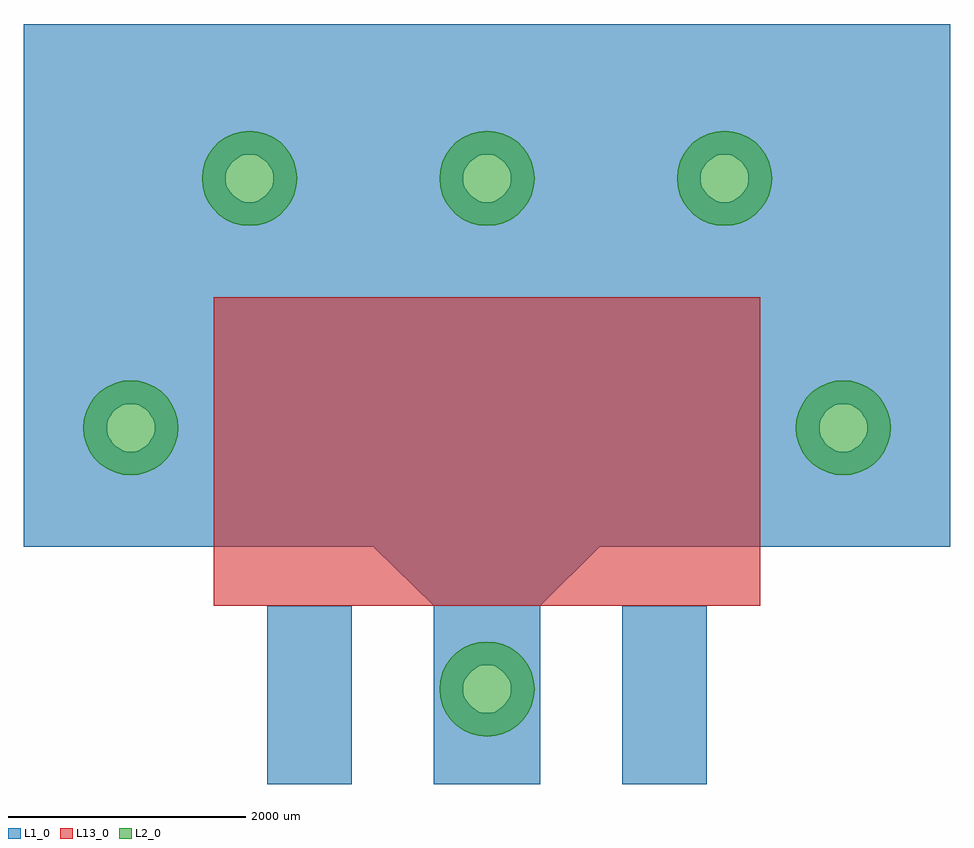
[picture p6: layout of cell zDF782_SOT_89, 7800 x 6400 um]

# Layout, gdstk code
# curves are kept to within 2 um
import gdstk
lib = gdstk.Library(unit=1e-6, precision=1e-09)
def R(c, l, rs):  # rectangles x0, y0, x1, y1
    for r in rs: c.add(gdstk.rectangle(r[:2], r[2:], *l))
def P(c, l, *ps):  # polygons
    for p in ps: c.add(gdstk.Polygon(p, *l))
L1_0 = (1, 0)
L2_0 = (2, 0)
L13_0 = (13, 0)

zdf782_sot_89 = lib.new_cell('zDF782_SOT_89')
R(zdf782_sot_89, L1_0, [(-1850,-1500,-1140,0), (1140,-1500,1850,0)])
P(zdf782_sot_89, L1_0, [(-950,500),(-950,490),(-450,0),(-450,-1500),(0,-1500),(0,-900),(-30,-900),(-70,-890),(-130,-850),(-150,-830),(-190,-770),(-200,-730),(-200,-670),(-190,-630),(-150,-570),(-130,-550),(-70,-510),(-30,-500),(0,-500),(0,3400),(-30,3400),(-70,3410),(-130,3450),(-150,3470),(-190,3530),(-200,3570),(-200,3630),(-190,3670),(-150,3730),(-130,3750),(-70,3790),(-30,3800),(30,3800),(70,3790),(130,3750),(150,3730),(190,3670),(200,3630),(200,3570),(190,3530),(150,3470),(130,3450),(70,3410),(30,3400),(0,3400),(0,-500),(30,-500),(70,-510),(130,-550),(150,-570),(190,-630),(200,-670),(200,-730),(190,-770),(150,-830),(130,-850),(70,-890),(30,-900),(0,-900),(0,-1500),(450,-1500),(450,0),(950,500),(2000,500),(2000,3400),(1970,3400),(1930,3410),(1870,3450),(1850,3470),(1810,3530),(1800,3570),(1800,3630),(1810,3670),(1850,3730),(1870,3750),(1930,3790),(1970,3800),(2030,3800),(2070,3790),(2130,3750),(2150,3730),(2190,3670),(2200,3630),(2200,3570),(2190,3530),(2150,3470),(2130,3450),(2070,3410),(2030,3400),(2000,3400),(2000,500),(3000,500),(3000,1300),(2970,1300),(2930,1310),(2870,1350),(2850,1370),(2810,1430),(2800,1470),(2800,1530),(2810,1570),(2850,1630),(2870,1650),(2930,1690),(2970,1700),(3030,1700),(3070,1690),(3130,1650),(3150,1630),(3190,1570),(3200,1530),(3200,1470),(3190,1430),(3150,1370),(3130,1350),(3070,1310),(3030,1300),(3000,1300),(3000,500),(3900,500),(3900,4900),(-3900,4900),(-3900,500),(-3000,500),(-3000,1300),(-3030,1300),(-3070,1310),(-3130,1350),(-3150,1370),(-3190,1430),(-3200,1470),(-3200,1530),(-3190,1570),(-3150,1630),(-3130,1650),(-3070,1690),(-3030,1700),(-2970,1700),(-2930,1690),(-2870,1650),(-2850,1630),(-2810,1570),(-2800,1530),(-2800,1470),(-2810,1430),(-2850,1370),(-2870,1350),(-2930,1310),(-2970,1300),(-3000,1300),(-3000,500),(-2000,500),(-2000,3400),(-2030,3400),(-2070,3410),(-2130,3450),(-2150,3470),(-2190,3530),(-2200,3570),(-2200,3630),(-2190,3670),(-2150,3730),(-2130,3750),(-2070,3790),(-2030,3800),(-1970,3800),(-1930,3790),(-1870,3750),(-1850,3730),(-1810,3670),(-1800,3630),(-1800,3570),(-1810,3530),(-1850,3470),(-1870,3450),(-1930,3410),(-1970,3400),(-2000,3400),(-2000,500)])
P(zdf782_sot_89, L2_0, [(400,3600),(393.923,3530.541),(375.877,3463.192),(346.41,3400),(306.418,3342.885),(257.115,3293.582),(200,3253.59),(136.808,3224.123),(69.459,3206.077),(0,3200),(-69.459,3206.077),(-136.808,3224.123),(-200,3253.59),(-257.115,3293.582),(-306.418,3342.885),(-346.41,3400),(-375.877,3463.192),(-393.923,3530.541),(-400,3600),(-393.923,3669.459),(-375.877,3736.808),(-346.41,3800),(-306.418,3857.115),(-257.115,3906.418),(-200,3946.41),(-136.808,3975.877),(-69.459,3993.923),(0,4000),(69.459,3993.923),(136.808,3975.877),(200,3946.41),(257.115,3906.418),(306.418,3857.115),(346.41,3800),(375.877,3736.808),(393.923,3669.459)],
  [(2400,3600),(2393.923,3530.541),(2375.877,3463.192),(2346.41,3400),(2306.418,3342.885),(2257.115,3293.582),(2200,3253.59),(2136.808,3224.123),(2069.459,3206.077),(2000,3200),(1930.541,3206.077),(1863.192,3224.123),(1800,3253.59),(1742.885,3293.582),(1693.582,3342.885),(1653.59,3400),(1624.123,3463.192),(1606.077,3530.541),(1600,3600),(1606.077,3669.459),(1624.123,3736.808),(1653.59,3800),(1693.582,3857.115),(1742.885,3906.418),(1800,3946.41),(1863.192,3975.877),(1930.541,3993.923),(2000,4000),(2069.459,3993.923),(2136.808,3975.877),(2200,3946.41),(2257.115,3906.418),(2306.418,3857.115),(2346.41,3800),(2375.877,3736.808),(2393.923,3669.459)],
  [(400,-700),(393.923,-769.459),(375.877,-836.808),(346.41,-900),(306.418,-957.115),(257.115,-1006.418),(200,-1046.41),(136.808,-1075.877),(69.459,-1093.923),(0,-1100),(-69.459,-1093.923),(-136.808,-1075.877),(-200,-1046.41),(-257.115,-1006.418),(-306.418,-957.115),(-346.41,-900),(-375.877,-836.808),(-393.923,-769.459),(-400,-700),(-393.923,-630.541),(-375.877,-563.192),(-346.41,-500),(-306.418,-442.885),(-257.115,-393.582),(-200,-353.59),(-136.808,-324.123),(-69.459,-306.077),(0,-300),(69.459,-306.077),(136.808,-324.123),(200,-353.59),(257.115,-393.582),(306.418,-442.885),(346.41,-500),(375.877,-563.192),(393.923,-630.541)],
  [(-1600,3600),(-1606.077,3530.541),(-1624.123,3463.192),(-1653.59,3400),(-1693.582,3342.885),(-1742.885,3293.582),(-1800,3253.59),(-1863.192,3224.123),(-1930.541,3206.077),(-2000,3200),(-2069.459,3206.077),(-2136.808,3224.123),(-2200,3253.59),(-2257.115,3293.582),(-2306.418,3342.885),(-2346.41,3400),(-2375.877,3463.192),(-2393.923,3530.541),(-2400,3600),(-2393.923,3669.459),(-2375.877,3736.808),(-2346.41,3800),(-2306.418,3857.115),(-2257.115,3906.418),(-2200,3946.41),(-2136.808,3975.877),(-2069.459,3993.923),(-2000,4000),(-1930.541,3993.923),(-1863.192,3975.877),(-1800,3946.41),(-1742.885,3906.418),(-1693.582,3857.115),(-1653.59,3800),(-1624.123,3736.808),(-1606.077,3669.459)],
  [(-2600,1500),(-2606.077,1430.541),(-2624.123,1363.192),(-2653.59,1300),(-2693.582,1242.885),(-2742.885,1193.582),(-2800,1153.59),(-2863.192,1124.123),(-2930.541,1106.077),(-3000,1100),(-3069.459,1106.077),(-3136.808,1124.123),(-3200,1153.59),(-3257.115,1193.582),(-3306.418,1242.885),(-3346.41,1300),(-3375.877,1363.192),(-3393.923,1430.541),(-3400,1500),(-3393.923,1569.459),(-3375.877,1636.808),(-3346.41,1700),(-3306.418,1757.115),(-3257.115,1806.418),(-3200,1846.41),(-3136.808,1875.877),(-3069.459,1893.923),(-3000,1900),(-2930.541,1893.923),(-2863.192,1875.877),(-2800,1846.41),(-2742.885,1806.418),(-2693.582,1757.115),(-2653.59,1700),(-2624.123,1636.808),(-2606.077,1569.459)],
  [(3400,1500),(3393.923,1430.541),(3375.877,1363.192),(3346.41,1300),(3306.418,1242.885),(3257.115,1193.582),(3200,1153.59),(3136.808,1124.123),(3069.459,1106.077),(3000,1100),(2930.541,1106.077),(2863.192,1124.123),(2800,1153.59),(2742.885,1193.582),(2693.582,1242.885),(2653.59,1300),(2624.123,1363.192),(2606.077,1430.541),(2600,1500),(2606.077,1569.459),(2624.123,1636.808),(2653.59,1700),(2693.582,1757.115),(2742.885,1806.418),(2800,1846.41),(2863.192,1875.877),(2930.541,1893.923),(3000,1900),(3069.459,1893.923),(3136.808,1875.877),(3200,1846.41),(3257.115,1806.418),(3306.418,1757.115),(3346.41,1700),(3375.877,1636.808),(3393.923,1569.459)])
R(zdf782_sot_89, L13_0, [(-2300,0,2300,2600)])
zdf782_sot_89.add(gdstk.FlexPath([(1850,0),(1140,0)], 0, ends="round", simple_path=True, layer=13, datatype=0))  # L13_0
zdf782_sot_89.add(gdstk.FlexPath([(-1140,0),(-1850,0)], 0, ends="round", simple_path=True, layer=13, datatype=0))  # L13_0

lib.write_gds('zDF782_SOT_89.gds')
